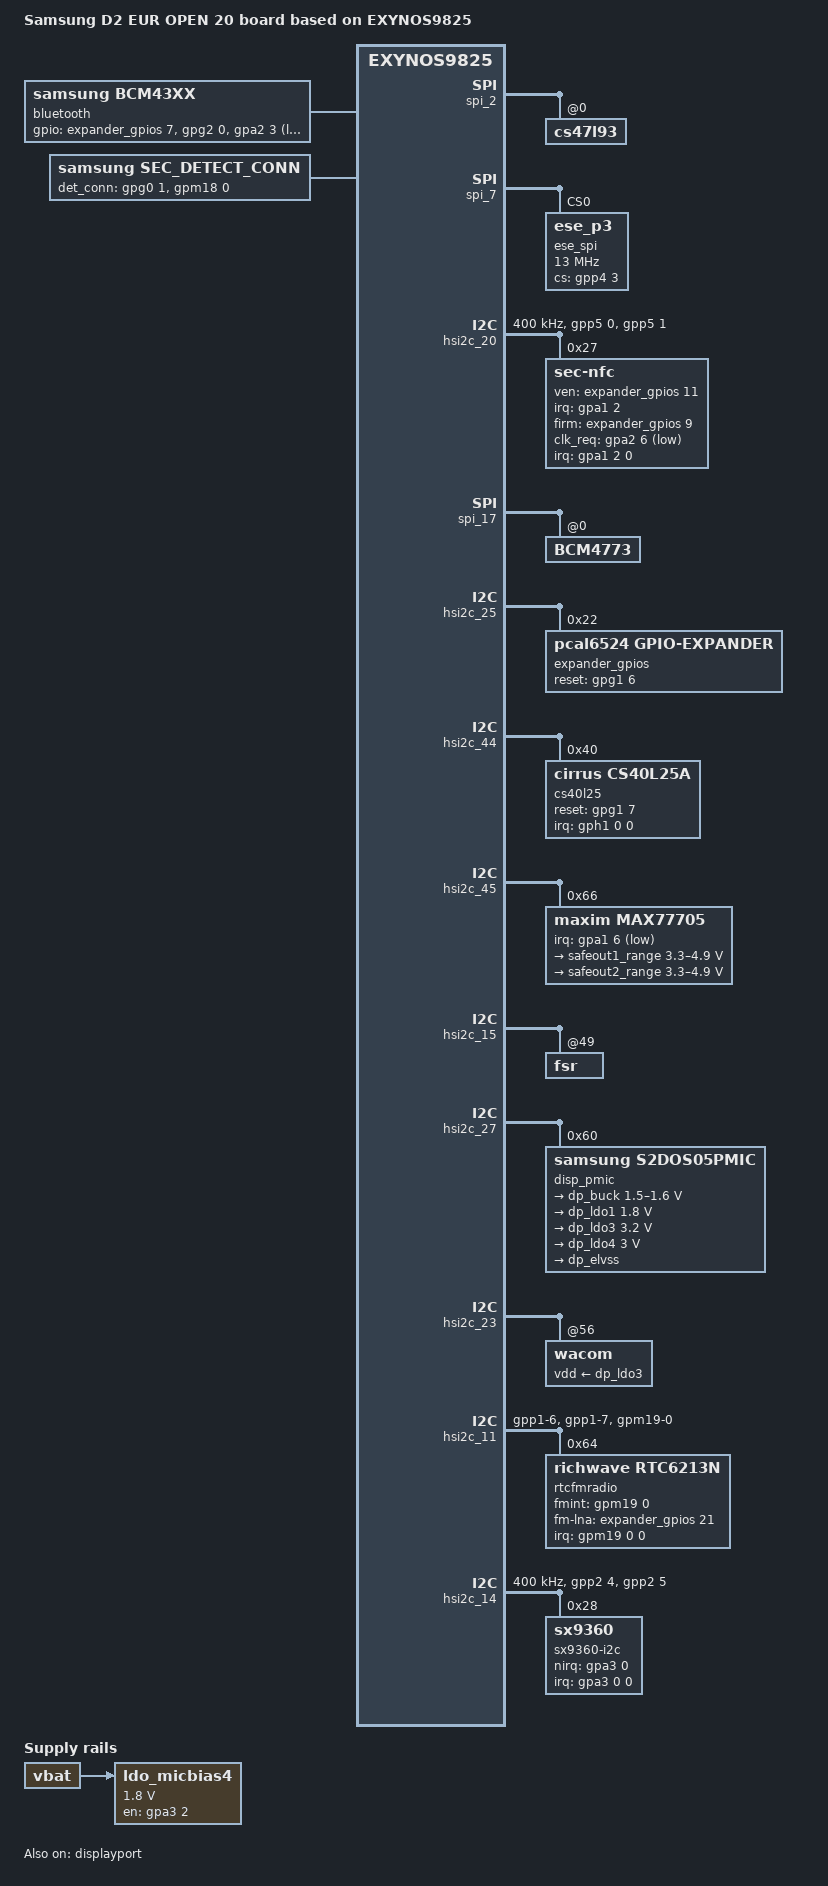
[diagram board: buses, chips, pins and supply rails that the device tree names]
/*
 * SAMSUNG EXYNOS9820 board device tree source
 *
 * Copyright (c) 2018 Samsung Electronics Co., Ltd.
 *		http://www.samsung.com
 *
 * This program is free software; you can redistribute it and/or modify
 * it under the terms of the GNU General Public License version 2 as
 * published by the Free Software Foundation.
*/

/dts-v1/;
/plugin/;
#include "exynos9820-sensorhub_2.dtsi"
#include "exynos9820-display-lcd.dtsi"
#include "battery_data_d2_19.dtsi"
#include "exynos9820-d2_if-pmic-max77705.dtsi"
#include <dt-bindings/clock/exynos9820.h>
#include <dt-bindings/pci/pci.h>
#include "exynos9820-d2_camera.dtsi"
#include "exynos9820-d2_common.dtsi"
#include "exynos9820-d2_fingerprint_18.dtsi"
#include "exynos9820-d2_eur_open_gpio_19.dtsi"
#include "exynos9820-d2_optics-r19.dtsi"
#include "exynos9820-d2x_mst.dtsi"
#include "exynos9820-mali_rev2.dtsi"

/ {
	compatible = "samsung,D2 EUR OPEN 20", "samsung,EXYNOS9825";
	dtbo-hw_rev = <20>;
	dtbo-hw_rev_end = <20>;
	edtbo-rev = <0>;

	fragment@model {
		target-path = "/";
		__overlay__ {
			#address-cells = <2>;
			#size-cells = <1>;

			model = "Samsung D2 EUR OPEN 20 board based on EXYNOS9825";

			bluetooth {
				compatible = "samsung,bcm43xx";
				gpios = <&expander_gpios 7 0    /*BT_EN*/
				&gpg2 0 0    /*BT_WAKE*/
				&gpa2 3 0xF    /*BT_HOST_WAKE*/ >;
				pinctrl-names = "default";
				pinctrl-0=<&bt_hostwake &bt_btwake>;
				status = "okay";
			};
			
			sec_detect_conn {
				compatible = "samsung,sec_detect_conn";
				sec,det_conn_gpios = <&gpg0 1 0             /* SUB_DET */
									  &gpm18 0 0>;           /* CAM_CON_DET */
				sec,det_conn_name = "SUB_CONNECT", "CAM_CONNECT";

				sec,det_conn_irq_type = <3>, /* SUB_DET BOTH EDGE*/
										<3>; /* CAM_CON_DET BOTH EDGE*/

				pinctrl-names = "default";
				pinctrl-0 = <&sub_detect_conn_setting &cam_detect_conn_setting>;
			};

			ldo_micbias4: ldo_micbias4 {
				compatible = "regulator-fixed";

				regulator-name = "4TH_MICBIAS_1P8";
				regulator-min-microvolt = <1800000>;
				regulator-max-microvolt = <1800000>;

				vin-supply = <&vbat>;

				gpio = <&gpa3 2 0>;
				enable-active-high;
			};

			sound {
				LDO_MICBIAS4-supply = <&ldo_micbias4>;

				samsung,routing = "DMIC1", "MICBIAS1A",
					"IN3R", "DMIC1",
					"DMIC2", "MICBIAS1B",
					"IN4R", "DMIC2",
					"DMIC3", "LDO_MICBIAS3",
					"IN1AR", "DMIC3",
					"DMIC4", "LDO_MICBIAS4",
					"IN1AL", "DMIC4",
					"ABOX UAIF3 Capture", "BLUETOOTH MIC",
					"IN2BL", "FM IN",
					"IN2BR", "FM IN",
					"RECEIVER", "Left AMP SPK",
					"SPEAKER", "Right AMP SPK",
					"BLUETOOTH SPK", "ABOX UAIF3 Playback",
					"VTS PAD DPDM", "DMIC1",
					"VTS Virtual Output", "VTS Virtual Output Mux";
			};
		}; /* end of __overlay__ */
	}; /* end of fragment */
}; /* end of root */

&spi_2 {
	cs47l93@0 {
		cirrus,dmic-ref = <
			MADERA_DMIC_REF_MICBIAS1 /* IN1 */
			MADERA_DMIC_REF_MICBIAS1 /* IN2 */
			MADERA_DMIC_REF_MICBIAS1 /* IN3 */
			MADERA_DMIC_REF_MICBIAS1 /* IN4 */
		>;

		MICBIAS1B {
			regulator-active-discharge = <1>;
		};
	};
};

&pinctrl_6 {
	spi7_bus_suspend: spi7-bus-suspend {
		samsung,pins = "gpp4-2", "gpp4-1", "gpp4-0";
		samsung,pin-function = <0>;	/* INPUT */
		samsung,pin-pud = <1>;		/* DOWN */
		samsung,pin-drv = <0>;
	};
	spi7_cs_suspend: spi7-cs-suspend {
		samsung,pins = "gpp4-3";
		samsung,pin-function = <0>;	/* INPUT */
		samsung,pin-pud = <1>;		/* DOWN */
		samsung,pin-drv = <0>;
	};
};

/* SPI USI_PERIC1_USI06_SPI */
&spi_7 {
	status = "okay";
	/delete-property/ pinctrl-names;
	/delete-property/ pinctrl-0;
	pinctrl-names = "ese_active", "ese_suspend";
	pinctrl-0 = <&spi7_bus &spi7_cs>;
	pinctrl-1 = <&spi7_bus_suspend &spi7_cs_suspend>;

	ese_spi@0 {
		compatible = "ese_p3";
		reg = <0>;
		spi-max-frequency = <13000000>;
		gpio-controller;
		#gpio-cells = <2>;

		p3-vdd-1p8= "VDD_ESE_1P8";

		clocks = <&clock GATE_USI06_USI>, <&clock DOUT_CLK_PERIC1_USI06_USI>;
		clock-names = "pclk", "sclk";
		ese_p3,cs-gpio = <&gpp4 3 0>;

		controller-data {
			samsung,spi-feedback-delay = <0>;
			samsung,spi-chip-select-mode = <0>;
		};
	};
};

&hsi2c_20 {
	gpios = <&gpp5 0 0 &gpp5 1 0>;
	status = "okay";
	clock-frequency = <400000>;

	sec-nfc@27 {
		compatible = "sec-nfc";
		reg = <0x27>;

		interrupts = <2 0 0>;
		interrupt-parent = <&gpa1>;

		sec-nfc,ven-gpio = <&expander_gpios 11 0>;
		sec-nfc,irq-gpio = <&gpa1 2 0>;
		sec-nfc,firm-gpio = <&expander_gpios 9 0>;
		sec-nfc,clk_req-gpio = <&gpa2 6 0xf>;
		sec-nfc,clk_use = <2>;
		sec-nfc,nfc_pvdd = "VDD_NFC_1P8";

		clocks = <&clock OSC_NFC>;
		clock-names = "oscclk_nfc";
		sec-nfc,nfc_ap_clk;
		sec-nfc,ldo_control;
	};
};

&spi_17 {
	BCM4773@0 {
		ssp-acc-position = <6>;
		ssp-mag-position = <7>;
		ssp-mag-array = /bits/ 8 <96 87 21 204 178 182 1 64 214 55 81 192 242 102 7 122 253 184 238 31 
					179 2 73 205 12 117 9>;
		ssp-thermi-up = /bits/ 16 <2995 2964 2926 2883 2822 2750 2670 2564 2450 2320 2178 2020 1860 1700
					1540 1377 1218 1079 999 834 753 647 566>;
		ssp-thermi-sub = /bits/ 16 <2986 2953 2918 2873 2810 2741 2656 2552 2441 2312 2171 2015 1857 1698
					1537 1377 1217 1083 1003 845 758 654 575>;
	};
};

&pinctrl_5 {
	gpio_expander_rst: gpio_expander_rst {
		samsung,pins = "gpg1-6";
		samsung,pin-function = <1>;
		samsung,pin-pud = <0>;
		samsung,pin-val = <1>;
	};
};

&hsi2c_25 {
	status = "okay";
	expander_gpios: pcal6524@22 {
		compatible = "pcal6524,gpio-expander";
		gpio-controller;
		#gpio-cells = <2>;
		reg = <0x22>;
		pinctrl-names = "default";
		pinctrl-0 = <&gpio_expander_rst>;
		pcal6524,gpio_start = <300>;
		pcal6524,ngpio = <24>;
		pcal6524,reset-gpio = <&gpg1 6 0>;
		pcal6524,support_initialize = <1>;
		/* config, 24 ~ 0, 1bit configure[1:input, 0:output]*/
		pcal6524,config = <0xD8F5FF>;    /* P2[11011000] P1[11110101] P0[11111111] */
		/* data_out, 24 ~ 0, 1bit configure[1:high, 0:low]*/
		pcal6524,data_out = <0x000800>;  /* P2[00000000] P1[00001000] P0[00000000] */
		/* pull_reg, 8 ~ 0, 2bit configure[00:no_pull, 01:pull_down, 10:pull_up, 11:not used] */
		pcal6524,pull_reg_p0 = <0x0000>; /* 00 00 00 00 / 00 00 00 00 */
		pcal6524,pull_reg_p1 = <0x0000>; /* 00 00 00 00 / 00 00 00 00 */
		pcal6524,pull_reg_p2 = <0x0400>; /* 00 00 01 00 / 00 00 00 00 */
	};
};

&pinctrl_6 {
	motor_int: motor-int {
		samsung,pins ="gph1-0";
		samsung,pin-function = <0xf>;
		samsung,pin-pud = <0>;
		samsung,pin-con-pdn = <3>;
		samsung,pin-pud-pdn = <0>;
	};
};

&hsi2c_44 {
	status = "okay";
	cs40l25@40 {
		compatible = "cirrus,cs40l25a";
		reg = <0x40>;
		pinctrl-names = "default";
		pinctrl-0 = <&motor_boost_en &motor_int>;
		interrupt-parent = <&gph1>;
		interrupts = <0 0 0>;
		reset-gpios = <&gpg1 7 0>;
		samsung,vib_type = "LINEAR_INDEX";
		cirrus,gpio-indv-enable = <0x9>;
		cirrus,gpio-indv-pol = <0x9>;
		cirrus,boost-ind-nanohenry = <1000>;
		cirrus,boost-cap-microfarad = <4>;
		cirrus,boost-ipk-milliamp = <4000>;
		cirrus,refclk-gpio2;
		cirrus,amp-gnd-stby;
		cirrus,auto-recovery;
	};
};

&hsi2c_45 {
	#address-cells = <1>;
	#size-cells = <0>;
	status = "okay";
	/delete-node/ max77705@66;
	max77705@66 {
		compatible = "maxim,max77705";
		pinctrl-names = "default";
		pinctrl-0 = <&max77705_irq>;
		reg = <0x66>;
		max77705,irq-gpio = <&gpa1 6 1>;
		max77705,wakeup;
		max77705,fw_product_id = <0x03>;
		support_pd_role_swap;
		max77705,support-audio;

		regulators {
			ESAFEOUT1 {
				regulator-compatible = "safeout1";
				regulator-name = "safeout1_range";
				regulator-min-microvolt = <3300000>;
				regulator-max-microvolt = <4900000>;
				regulator-boot-on;
			};

			ESAFEOUT2 {
				regulator-compatible = "safeout2";
				regulator-name = "safeout2_range";
				regulator-min-microvolt = <3300000>;
				regulator-max-microvolt = <4900000>;
			};
		};
	};
};

&hsi2c_15 { /* keyless */
	status = "okay";
	fsr@49 {
		status = "okay";
		pinctrl-names = "default";
		pinctrl-0 = <&keyless_int_default>;
	};
};

&pinctrl_5 {
	aux_oe: aux-oe {
		samsung,pins = "gpp3-0";
		samsung,pin-function = <1>;
		samsung,pin-pud = <0>;
		samsung,pin-con-pdn = <3>;
		samsung,pin-pud-pdn = <0>;
		};
};

&displayport {
	status = "okay";
	dp,aux_sw_oe = <&gpp3 0 0>;
	dp,sbu_sw_sel = <&expander_gpios 22 0>;
	dp,usb_con_sel = <&gpg0 4 0>;
	dp,phy_tuning = <1>;

	pinctrl-names = "default";
	pinctrl-0 = <&aux_oe>;
};

/delete-node/ &disp_pmic;

&hsi2c_27 {
	#address-cells = <1>;
	#size-cells = <0>;
	status = "okay";
	disp_pmic: s2dos05_pmic@60 {
		compatible = "samsung,s2dos05pmic";
		reg = <0x60>;
		s2dos05,wakeup;
		pinctrl-names = "default";
		pinctrl-0 = <&dp_pmic_irq>;
		s2dos05,s2dos05_int = <&gpa1 4 0>;
		adc_mode = <2>; /* 0 : disable, 1 : current meter, 2 : power meter */
		adc_sync_mode = <2>; /* 1 : sync mode, 2 : async mode */
		regulators {
			dp_buck: s2dos05-buck1 {
				regulator-name = "vdd1";
				regulator-min-microvolt = <1500000>;
				regulator-max-microvolt = <1600000>;
				regulator-boot-on;
			};
			dp_ldo1: s2dos05-ldo1 {
				regulator-name = "vdd2";
				regulator-min-microvolt = <1800000>;
				regulator-max-microvolt = <1800000>;
				regulator-boot-on;
			};
			dp_ldo3: s2dos05-ldo3 {
				regulator-name = "vdd4";
				regulator-min-microvolt = <3200000>;
				regulator-max-microvolt = <3200000>;
			};
			dp_ldo4: s2dos05-ldo4{
				regulator-name = "vdd5";
				regulator-min-microvolt = <3000000>;
				regulator-max-microvolt = <3000000>;
				regulator-boot-on;
			};
			dp_elvss: s2dos05-elvss{
				regulator-name = "elvss";
			};
		};
	};
};

&hsi2c_23 {
	wacom@56 {
		vdd-supply = <&dp_ldo3>;
	};
};

&pinctrl_2 {
	fm_int: fm-int {
		samsung,pins = "gpm19-0";
		samsung,pin-function = <0xf>;
		samsung,pin-pud = <0>;
		samsung,pin-con-pdn =<3>;
		samsung,pin-pud-pdn = <0>;
	};
};

&pinctrl_5 {
	hsi2c11_bus: hsi2c11-bus {
		samsung,pins = "gpp1-6", "gpp1-7";
		samsung,pin-function = <3>;
		samsung,pin-pud = <0>;
		samsung,pin-drv = <0>;
		samsung,pin-pud-pdn = <0>;
	};
};

&hsi2c_11 {
	status = "okay";
	pinctrl-names = "default";
	pinctrl-0 = <&hsi2c11_bus &fm_int>;

	rtcfmradio@64 {
		compatible = "richwave,rtc6213n", "rtc6213n";
		reg = <0x64>;
		interrupts = <0 0 0>;
		interrupt-parent = <&gpm19>;
		fmint-gpio = <&gpm19 0 0>;
		fm-lna-gpio = <&expander_gpios 21 0>;
		volume_db;
		radio_vol = <44 43 39 36 33 30 27 24 21 18 15 12 10 8 6 4>;
	};
};

&hsi2c_14 {
	gpios = <&gpp2 4 0 &gpp2 5 0>;
	clock-frequency = <400000>;
	status = "okay";

	#address-cells = <1>;
	#size-cells = <0>;

	sx9360-i2c@28 {
		compatible = "sx9360";
		reg = <0x28>;
		status = "okay";
		pinctrl-names = "default";
		pinctrl-0 = <&grip_irq>;
		interrupt-parent = <&gpa3>;
		interrupts = <0 0 0>;

		sx9360,nirq-gpio = <&gpa3 0 0>;
		sx9360,refresolution_reg = <0x0f>; /* same as resolution_reg */
		sx9360,refagainfreq_reg = <0x36>; /* same as againfreq_reg */
		sx9360,resolution_reg = <0x0f>; /* resolution : 1024 */
		sx9360,againfreq_reg = <0x36>; /* freq : 83.33 kHz, again : +/-5.25 pF */
		sx9360,refgainrawfilt_reg = <0x22>; /* same as gainrawfilt_reg */
		sx9360,gainrawfilt_reg = <0x22>; /* rawfilter : 1-1/4, gain : x8 */
		sx9360,hyst_reg = <0x15>; /* hysteresis : +/-6 %, debouncer : 2 samples */
		sx9360,proxthresh_reg = <0x3C>; /* threshhold : 1800 */
	};
};

&speedy {
	s2mps19mfd@00 {
		regulators {
			LDO29M {
				regulator-name = "vdd-fm-2p8";
				regulator-min-microvolt = <2800000>;
				regulator-max-microvolt = <2800000>;
				regulator-always-on;
				regulator-ramp-delay = <12000>;
				regulator-initial-mode = <3>;
			};
		};
	};
};
